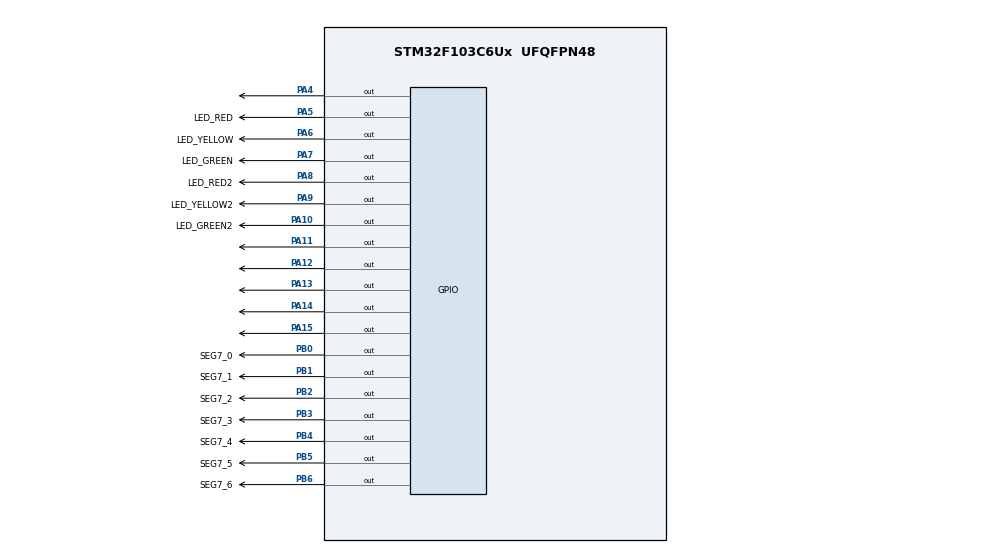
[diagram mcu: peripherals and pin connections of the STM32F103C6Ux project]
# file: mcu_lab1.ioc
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Mcu.Family=STM32F1
Mcu.Name=STM32F103C6Ux
Mcu.Package=UFQFPN48
NVIC.PriorityGroup=NVIC_PRIORITYGROUP_4
PA10.GPIO_Label=LED_GREEN2
PA10.Signal=GPIO_Output
PA11.Signal=GPIO_Output
PA12.Signal=GPIO_Output
PA13.Signal=GPIO_Output
PA14.Signal=GPIO_Output
PA15.Signal=GPIO_Output
PA4.Signal=GPIO_Output
PA5.GPIO_Label=LED_RED
PA5.Signal=GPIO_Output
PA6.GPIO_Label=LED_YELLOW
PA6.Signal=GPIO_Output
PA7.GPIO_Label=LED_GREEN
PA7.Signal=GPIO_Output
PA8.GPIO_Label=LED_RED2
PA8.Signal=GPIO_Output
PA9.GPIO_Label=LED_YELLOW2
PA9.Signal=GPIO_Output
PB0.GPIO_Label=SEG7_0
PB0.Signal=GPIO_Output
PB1.GPIO_Label=SEG7_1
PB1.Signal=GPIO_Output
PB2.GPIO_Label=SEG7_2
PB2.Signal=GPIO_Output
PB3.GPIO_Label=SEG7_3
PB3.Signal=GPIO_Output
PB4.GPIO_Label=SEG7_4
PB4.Signal=GPIO_Output
PB5.GPIO_Label=SEG7_5
PB5.Signal=GPIO_Output
PB6.GPIO_Label=SEG7_6
PB6.Signal=GPIO_Output
ProjectManager.HeapSize=0x200
ProjectManager.StackSize=0x400
ProjectManager.TargetToolchain=STM32CubeIDE
RCC.APB1Freq_Value=8000000
RCC.APB2Freq_Value=8000000
VP_SYS_VS_ND.Mode=No_Debug
board=custom

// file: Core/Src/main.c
/* USER CODE BEGIN Header */
/**
  ******************************************************************************
  * @file           : main.c
  * @brief          : Main program body
  ******************************************************************************
  * @attention
  *
  * <h2><center>&copy; Copyright (c) 2022 STMicroelectronics.
  * All rights reserved.</center></h2>
  *
  * This software component is licensed by ST under BSD 3-Clause license,
  * the "License"; You may not use this file except in compliance with the
  * License. You may obtain a copy of the License at:
  *                        opensource.org/licenses/BSD-3-Clause
  *
  ******************************************************************************
  */
/* USER CODE END Header */
#include "main.h"

void SystemClock_Config(void);
static void MX_GPIO_Init(void);

/* USER CODE BEGIN 0 */
void display7SEG(int num) {
  switch(num) {
	  case 0 : {
		  HAL_GPIO_WritePin(SEG7_0_GPIO_Port, SEG7_0_Pin, 0);
		  HAL_GPIO_WritePin(SEG7_1_GPIO_Port, SEG7_1_Pin, 0);
		  HAL_GPIO_WritePin(SEG7_2_GPIO_Port, SEG7_2_Pin, 0);
		  HAL_GPIO_WritePin(SEG7_3_GPIO_Port, SEG7_3_Pin, 0);
		  HAL_GPIO_WritePin(SEG7_4_GPIO_Port, SEG7_4_Pin, 0);
		  HAL_GPIO_WritePin(SEG7_5_GPIO_Port, SEG7_5_Pin, 0);
		  HAL_GPIO_WritePin(SEG7_6_GPIO_Port, SEG7_6_Pin, 1);
		  break;
	  }

	  case 1 : {
		  HAL_GPIO_WritePin(SEG7_0_GPIO_Port, SEG7_0_Pin, 1);
		  HAL_GPIO_WritePin(SEG7_1_GPIO_Port, SEG7_1_Pin, 0);
		  HAL_GPIO_WritePin(SEG7_2_GPIO_Port, SEG7_2_Pin, 0);
		  HAL_GPIO_WritePin(SEG7_3_GPIO_Port, SEG7_3_Pin, 1);
		  HAL_GPIO_WritePin(SEG7_4_GPIO_Port, SEG7_4_Pin, 1);
		  HAL_GPIO_WritePin(SEG7_5_GPIO_Port, SEG7_5_Pin, 1);
		  HAL_GPIO_WritePin(SEG7_6_GPIO_Port, SEG7_6_Pin, 1);
		  break;
	  }

	  case 2 : {
		  HAL_GPIO_WritePin(SEG7_0_GPIO_Port, SEG7_0_Pin, 0);
		  HAL_GPIO_WritePin(SEG7_1_GPIO_Port, SEG7_1_Pin, 0);
		  HAL_GPIO_WritePin(SEG7_2_GPIO_Port, SEG7_2_Pin, 1);
		  HAL_GPIO_WritePin(SEG7_3_GPIO_Port, SEG7_3_Pin, 0);
		  HAL_GPIO_WritePin(SEG7_4_GPIO_Port, SEG7_4_Pin, 0);
		  HAL_GPIO_WritePin(SEG7_5_GPIO_Port, SEG7_5_Pin, 1);
		  HAL_GPIO_WritePin(SEG7_6_GPIO_Port, SEG7_6_Pin, 0);
		  break;
	  }
	  case 3 : {
		  HAL_GPIO_WritePin(SEG7_0_GPIO_Port, SEG7_0_Pin, 0);
		  HAL_GPIO_WritePin(SEG7_1_GPIO_Port, SEG7_1_Pin, 0);
		  HAL_GPIO_WritePin(SEG7_2_GPIO_Port, SEG7_2_Pin, 0);
		  HAL_GPIO_WritePin(SEG7_3_GPIO_Port, SEG7_3_Pin, 0);
		  HAL_GPIO_WritePin(SEG7_4_GPIO_Port, SEG7_4_Pin, 1);
		  HAL_GPIO_WritePin(SEG7_5_GPIO_Port, SEG7_5_Pin, 1);
		  HAL_GPIO_WritePin(SEG7_6_GPIO_Port, SEG7_6_Pin, 0);
		  break;
	  }
	  case 4 : {
		  HAL_GPIO_WritePin(SEG7_0_GPIO_Port, SEG7_0_Pin, 1);
		  HAL_GPIO_WritePin(SEG7_1_GPIO_Port, SEG7_1_Pin, 0);
		  HAL_GPIO_WritePin(SEG7_2_GPIO_Port, SEG7_2_Pin, 0);
		  HAL_GPIO_WritePin(SEG7_3_GPIO_Port, SEG7_3_Pin, 1);
		  HAL_GPIO_WritePin(SEG7_4_GPIO_Port, SEG7_4_Pin, 1);
		  HAL_GPIO_WritePin(SEG7_5_GPIO_Port, SEG7_5_Pin, 0);
		  HAL_GPIO_WritePin(SEG7_6_GPIO_Port, SEG7_6_Pin, 0);
		  break;
	  }
	  case 5 : {
		  HAL_GPIO_WritePin(SEG7_0_GPIO_Port, SEG7_0_Pin, 0);
		  HAL_GPIO_WritePin(SEG7_1_GPIO_Port, SEG7_1_Pin, 1);
		  HAL_GPIO_WritePin(SEG7_2_GPIO_Port, SEG7_2_Pin, 0);
		  HAL_GPIO_WritePin(SEG7_3_GPIO_Port, SEG7_3_Pin, 0);
		  HAL_GPIO_WritePin(SEG7_4_GPIO_Port, SEG7_4_Pin, 1);
		  HAL_GPIO_WritePin(SEG7_5_GPIO_Port, SEG7_5_Pin, 0);
		  HAL_GPIO_WritePin(SEG7_6_GPIO_Port, SEG7_6_Pin, 0);
		  break;
	  }
	  case 6 : {
		  HAL_GPIO_WritePin(SEG7_0_GPIO_Port, SEG7_0_Pin, 0);
		  HAL_GPIO_WritePin(SEG7_1_GPIO_Port, SEG7_1_Pin, 1);
		  HAL_GPIO_WritePin(SEG7_2_GPIO_Port, SEG7_2_Pin, 0);
		  HAL_GPIO_WritePin(SEG7_3_GPIO_Port, SEG7_3_Pin, 0);
		  HAL_GPIO_WritePin(SEG7_4_GPIO_Port, SEG7_4_Pin, 0);
		  HAL_GPIO_WritePin(SEG7_5_GPIO_Port, SEG7_5_Pin, 0);
		  HAL_GPIO_WritePin(SEG7_6_GPIO_Port, SEG7_6_Pin, 0);
		  break;
	  }
	  case 7 : {
		  HAL_GPIO_WritePin(SEG7_0_GPIO_Port, SEG7_0_Pin, 0);
		  HAL_GPIO_WritePin(SEG7_1_GPIO_Port, SEG7_1_Pin, 0);
		  HAL_GPIO_WritePin(SEG7_2_GPIO_Port, SEG7_2_Pin, 0);
		  HAL_GPIO_WritePin(SEG7_3_GPIO_Port, SEG7_3_Pin, 1);
		  HAL_GPIO_WritePin(SEG7_4_GPIO_Port, SEG7_4_Pin, 1);
		  HAL_GPIO_WritePin(SEG7_5_GPIO_Port, SEG7_5_Pin, 1);
		  HAL_GPIO_WritePin(SEG7_6_GPIO_Port, SEG7_6_Pin, 1);
		  break;
	  }
	  case 8 : {
		  HAL_GPIO_WritePin(SEG7_0_GPIO_Port, SEG7_0_Pin, 0);
		  HAL_GPIO_WritePin(SEG7_1_GPIO_Port, SEG7_1_Pin, 0);
		  HAL_GPIO_WritePin(SEG7_2_GPIO_Port, SEG7_2_Pin, 0);
		  HAL_GPIO_WritePin(SEG7_3_GPIO_Port, SEG7_3_Pin, 0);
		  HAL_GPIO_WritePin(SEG7_4_GPIO_Port, SEG7_4_Pin, 0);
		  HAL_GPIO_WritePin(SEG7_5_GPIO_Port, SEG7_5_Pin, 0);
		  HAL_GPIO_WritePin(SEG7_6_GPIO_Port, SEG7_6_Pin, 0);
		  break;
	  }
	  case 9 : {
		  HAL_GPIO_WritePin(SEG7_0_GPIO_Port, SEG7_0_Pin, 0);
		  HAL_GPIO_WritePin(SEG7_1_GPIO_Port, SEG7_1_Pin, 0);
		  HAL_GPIO_WritePin(SEG7_2_GPIO_Port, SEG7_2_Pin, 0);
		  HAL_GPIO_WritePin(SEG7_3_GPIO_Port, SEG7_3_Pin, 0);
		  HAL_GPIO_WritePin(SEG7_4_GPIO_Port, SEG7_4_Pin, 1);
		  HAL_GPIO_WritePin(SEG7_5_GPIO_Port, SEG7_5_Pin, 0);
		  HAL_GPIO_WritePin(SEG7_6_GPIO_Port, SEG7_6_Pin, 0);
		  break;
	  }

	  default : {
		  HAL_GPIO_WritePin(SEG7_0_GPIO_Port, SEG7_0_Pin, 1);
		  HAL_GPIO_WritePin(SEG7_1_GPIO_Port, SEG7_1_Pin, 1);
		  HAL_GPIO_WritePin(SEG7_2_GPIO_Port, SEG7_2_Pin, 1);
		  HAL_GPIO_WritePin(SEG7_3_GPIO_Port, SEG7_3_Pin, 1);
		  HAL_GPIO_WritePin(SEG7_4_GPIO_Port, SEG7_4_Pin, 1);
		  HAL_GPIO_WritePin(SEG7_5_GPIO_Port, SEG7_5_Pin, 1);
		  HAL_GPIO_WritePin(SEG7_6_GPIO_Port, SEG7_6_Pin, 1);
		  break;
	  }
  }
}
/* USER CODE END 0 */

int main(void)
{

  /* MCU Configuration--------------------------------------------------------*/

  /* Reset of all peripherals, Initializes the Flash interface and the Systick. */
  HAL_Init();

  /* Configure the system clock */
  SystemClock_Config();

  /* Initialize all configured peripherals */
  MX_GPIO_Init();
  /* USER CODE BEGIN 2 */
  int counter = 0;
  /* Infinite loop */
  /* USER CODE BEGIN WHILE */
  while (1)
  {
	if(counter >= 10) counter = 0;
	display7SEG(counter++);
	HAL_Delay(1000);
    /* USER CODE END WHILE */

  }
}

void SystemClock_Config(void)
{
  RCC_OscInitTypeDef RCC_OscInitStruct = {0};
  RCC_ClkInitTypeDef RCC_ClkInitStruct = {0};

  /** Initializes the RCC Oscillators according to the specified parameters
  * in the RCC_OscInitTypeDef structure.
  */
  RCC_OscInitStruct.OscillatorType = RCC_OSCILLATORTYPE_HSI;
  RCC_OscInitStruct.HSIState = RCC_HSI_ON;
  RCC_OscInitStruct.HSICalibrationValue = RCC_HSICALIBRATION_DEFAULT;
  RCC_OscInitStruct.PLL.PLLState = RCC_PLL_NONE;
  if (HAL_RCC_OscConfig(&RCC_OscInitStruct) != HAL_OK)
  {
    Error_Handler();
  }
  /** Initializes the CPU, AHB and APB buses clocks
  */
  RCC_ClkInitStruct.ClockType = RCC_CLOCKTYPE_HCLK|RCC_CLOCKTYPE_SYSCLK
                              |RCC_CLOCKTYPE_PCLK1|RCC_CLOCKTYPE_PCLK2;
  RCC_ClkInitStruct.SYSCLKSource = RCC_SYSCLKSOURCE_HSI;
  RCC_ClkInitStruct.AHBCLKDivider = RCC_SYSCLK_DIV1;
  RCC_ClkInitStruct.APB1CLKDivider = RCC_HCLK_DIV1;
  RCC_ClkInitStruct.APB2CLKDivider = RCC_HCLK_DIV1;

  if (HAL_RCC_ClockConfig(&RCC_ClkInitStruct, FLASH_LATENCY_0) != HAL_OK)
  {
    Error_Handler();
  }
}

static void MX_GPIO_Init(void)
{
  GPIO_InitTypeDef GPIO_InitStruct = {0};

  /* GPIO Ports Clock Enable */
  __HAL_RCC_GPIOA_CLK_ENABLE();
  __HAL_RCC_GPIOB_CLK_ENABLE();

  /*Configure GPIO pin Output Level */
  HAL_GPIO_WritePin(GPIOA, GPIO_PIN_4|LED_RED_Pin|LED_YELLOW_Pin|LED_GREEN_Pin
                          |LED_RED2_Pin|LED_YELLOW2_Pin|LED_GREEN2_Pin|GPIO_PIN_11
                          |GPIO_PIN_12|GPIO_PIN_13|GPIO_PIN_14|GPIO_PIN_15, GPIO_PIN_RESET);

  /*Configure GPIO pin Output Level */
  HAL_GPIO_WritePin(GPIOB, SEG7_0_Pin|SEG7_1_Pin|SEG7_2_Pin|SEG7_3_Pin
                          |SEG7_4_Pin|SEG7_5_Pin|SEG7_6_Pin, GPIO_PIN_RESET);

  /*Configure GPIO pins : PA4 LED_RED_Pin LED_YELLOW_Pin LED_GREEN_Pin
                           LED_RED2_Pin LED_YELLOW2_Pin LED_GREEN2_Pin PA11
                           PA12 PA13 PA14 PA15 */
  GPIO_InitStruct.Pin = GPIO_PIN_4|LED_RED_Pin|LED_YELLOW_Pin|LED_GREEN_Pin
                          |LED_RED2_Pin|LED_YELLOW2_Pin|LED_GREEN2_Pin|GPIO_PIN_11
                          |GPIO_PIN_12|GPIO_PIN_13|GPIO_PIN_14|GPIO_PIN_15;
  GPIO_InitStruct.Mode = GPIO_MODE_OUTPUT_PP;
  GPIO_InitStruct.Pull = GPIO_NOPULL;
  GPIO_InitStruct.Speed = GPIO_SPEED_FREQ_LOW;
  HAL_GPIO_Init(GPIOA, &GPIO_InitStruct);

  /*Configure GPIO pins : SEG7_0_Pin SEG7_1_Pin SEG7_2_Pin SEG7_3_Pin
                           SEG7_4_Pin SEG7_5_Pin SEG7_6_Pin */
  GPIO_InitStruct.Pin = SEG7_0_Pin|SEG7_1_Pin|SEG7_2_Pin|SEG7_3_Pin
                          |SEG7_4_Pin|SEG7_5_Pin|SEG7_6_Pin;
  GPIO_InitStruct.Mode = GPIO_MODE_OUTPUT_PP;
  GPIO_InitStruct.Pull = GPIO_NOPULL;
  GPIO_InitStruct.Speed = GPIO_SPEED_FREQ_LOW;
  HAL_GPIO_Init(GPIOB, &GPIO_InitStruct);

}

void Error_Handler(void)
{
  __disable_irq();
  while (1)
  {
  }
}

/************************ (C) COPYRIGHT STMicroelectronics *****END OF FILE****/
